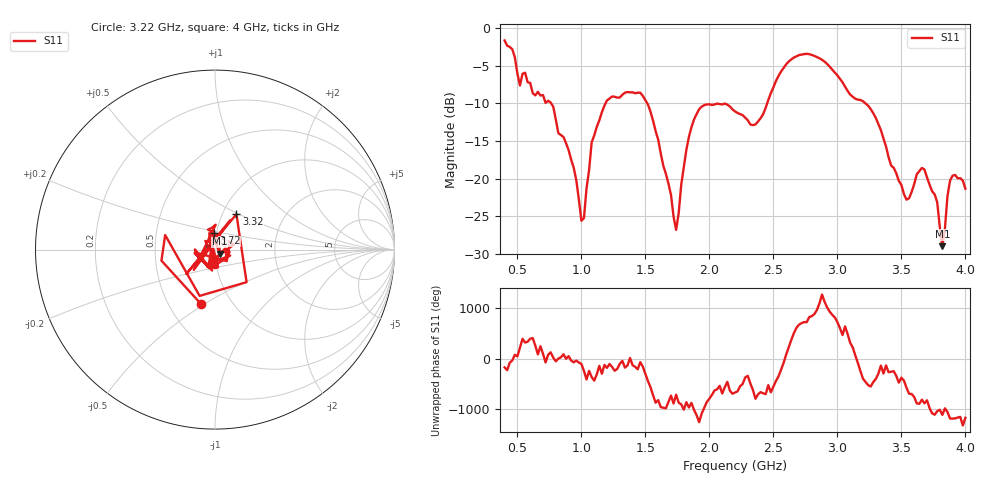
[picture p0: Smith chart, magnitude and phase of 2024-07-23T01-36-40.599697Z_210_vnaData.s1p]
!Created with skrf (http://scikit-rf.org).
# Hz S RI R 50.0
!freq ReS11 ImS11
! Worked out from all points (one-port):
!   181 points, 400 MHz to 4 GHz, reference 50 ohm
!   lowest |S11| = -29.0 dB at 3.82 GHz (marker M1), VSWR 1.07, Z = 52.7 - j2.43 ohm
!   |S11| at or under -10 dB: 763.3 MHz to 1.189 GHz (425.8 MHz wide, 43.6 % of centre); 1.514 GHz to 2.452 GHz (938 MHz wide, 47.3 % of centre); 3.218 GHz to end of sweep
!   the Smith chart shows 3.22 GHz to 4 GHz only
!   S11 on the Smith chart (normalised r, x): 3.22 GHz: 0.72, -0.49; 3.32 GHz: 1.16, +0.48; 3.72 GHz: 0.97, +0.18; 4 GHz: 0.96, -0.16
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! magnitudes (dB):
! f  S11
! 400 MHz  -1.7
! 520 MHz  -7.6
! 760 MHz  -9.9
! 860 MHz  -14.5
! 940 MHz  -18.6
! 1 GHz  -25.6
! 1.02 GHz  -25.2
! 1.08 GHz  -15.2
! 1.2 GHz  -9.6
! 1.3 GHz  -9.2
! 1.52 GHz  -10.2
! 1.74 GHz  -26.8
! 1.76 GHz  -24.6
! 1.82 GHz  -16.2
! 1.92 GHz  -10.8
! 2.2 GHz  -11.1
! 2.36 GHz  -12.8
! 2.66 GHz  -3.9
! 3.1 GHz  -8.9
! 3.22 GHz  -10.0
! 3.32 GHz  -12.8
! 3.56 GHz  -22.6
! 3.66 GHz  -18.6
! 3.72 GHz  -20.8
! 3.78 GHz  -23.1
! 3.82 GHz  -29.0
! 3.88 GHz  -20.3
! 4 GHz  -21.3
